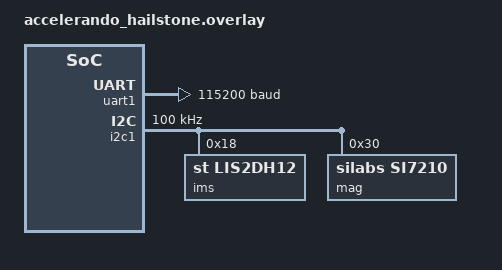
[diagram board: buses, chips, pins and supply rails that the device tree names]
/ {
	chosen {
		zephyr,console = &uart1;
		zephyr,shell-uart = &uart1;
		zephyr,uart-mcumgr = &uart1;
	};

	aliases {
		accel0 = &ims;
		mag0 = &mag;
	};
};

&pinctrl {
	uart1_default: uart1_default {
		group1 {
			psels = <NRF_PSEL(UART_TX, 0, 13)>,
				<NRF_PSEL(UART_RX, 0, 24)>;
		};
	};

	uart1_sleep: uart1_sleep {
		group1 {
			psels = <NRF_PSEL(UART_TX, 0, 13)>,
				<NRF_PSEL(UART_RX, 0, 24)>;
			low-power-enable;
		};
	};
};

&uart1 {
	current-speed = <115200>;
	status = "okay";
};

&i2c0 {
	status = "disabled";
};

&i2c1 {
	status = "okay";
	clock-frequency = <I2C_BITRATE_STANDARD>;

	ims: lis2dh@18 {
		status = "okay";
		compatible = "st,lis2dh12", "st,lis2dh";
  		reg = <0x18>;
	};

	mag: si7210@30 {
		status = "okay";
                compatible = "silabs,si7210";
                reg = <0x30>;
        };
};

